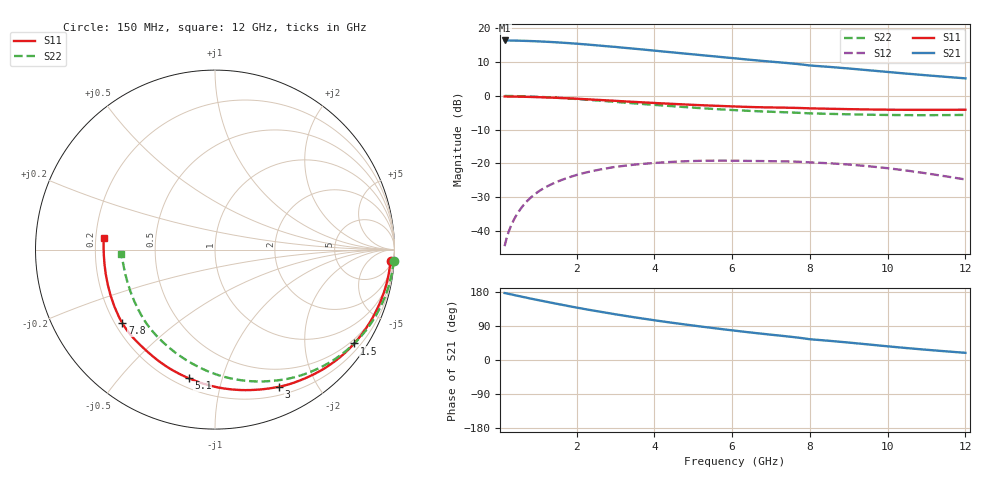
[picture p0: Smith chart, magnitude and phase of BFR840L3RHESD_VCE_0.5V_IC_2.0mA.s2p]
! Infineon Technologies  Discrete & RF Semiconductors
! BFR840L3RHESD
! VCE =  0.5 V,  IC =  2.0 mA
! Common Emitter S-Parameters:  Jun 2012
# GHz  S  MA  R  50
!  f  S11  S21  S12  S22
! GHz  MAG  ANG  MAG  ANG  MAG  ANG  MAG  ANG
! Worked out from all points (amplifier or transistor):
!   91 points, 150 MHz to 12 GHz, reference 50 ohm
!   highest |S21| = 16.4 dB at 150 MHz (marker M1)
!   |S21| within 3 dB of that: start of sweep to 3.986 GHz
!   unconditionally stable (mu >= 1): 10.07 GHz to end of sweep
!   at 1.3 GHz: K = 0.07, MSG = 21.3 dB, |S12| = -26.5 dB
!   at 4.3 GHz: K = 0.22, MSG = 16.4 dB, |S12| = -19.7 dB
!   at 12 GHz: K = 1.87, MAG = 9.6 dB, |S12| = -24.8 dB
!   S11 on the Smith chart (normalised r, x): 150 MHz: 9, -29; 1.5 GHz: 0.39, -3.23; 3 GHz: 0.29, -1.53; 5.1 GHz: 0.25, -0.78; 7.8 GHz: 0.23, -0.33; 12 GHz: 0.23, +0.05
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0.15  0.9799 -3.6  6.635 176.7  0.0059 88.2  0.9973 -3.5
0.3  0.978 -7.1  6.62 173.5  0.0113 86.2  0.9948 -7.0
0.6  0.9709 -14.1  6.561 166.9  0.0226 76.5  0.9856 -13.8
1  0.9571 -23.1  6.438 158.3  0.0374 69.7  0.9679 -22.7
1.5  0.9354 -34.0  6.216 148.2  0.0532 61.6  0.9372 -33.6
1.8  0.9194 -40.6  6.055 142.2  0.0617 56.3  0.9146 -39.9
2.2  0.8945 -49.1  5.82 134.6  0.072 49.9  0.8818 -48.0
2.5  0.8752 -55.1  5.628 129.3  0.0786 45.4  0.8569 -53.8
3  0.8441 -64.9  5.325 120.6  0.0887 38.7  0.8149 -62.9
3.6  0.8066 -76.0  4.933 111.0  0.0968 29.8  0.7651 -73.6
4.2  0.7745 -86.6  4.57 102.0  0.1029 22.4  0.7213 -83.4
4.5  0.7594 -91.7  4.397 97.7  0.1053 18.9  0.7008 -88.2
5.1  0.7314 -101.6  4.073 89.6  0.1085 12.0  0.663 -97.3
5.6  0.7121 -109.4  3.825 83.2  0.1094 6.6  0.6359 -104.6
6.1  0.6949 -117.0  3.59 77.1  0.109 1.7  0.6129 -111.7
6.8  0.6765 -127.1  3.294 69.0  0.1078 -4.5  0.5873 -121.1
7.8  0.659 -141.6  2.917 57.7  0.1048 -13.5  0.5576 -134.5
8  0.6529 -145.3  2.823 54.8  0.1032 -16.0  0.5504 -138.0
8.5  0.644 -150.5  2.69 50.6  0.1001 -19.8  0.5412 -142.8
9.5  0.6286 -161.9  2.402 41.1  0.0906 -28.3  0.5256 -153.7
10.5  0.621 -172.6  2.135 31.4  0.0779 -36.2  0.518 -164.2
12  0.6237 174.2  1.819 18.9  0.0576 -42.6  0.522 -177.4
